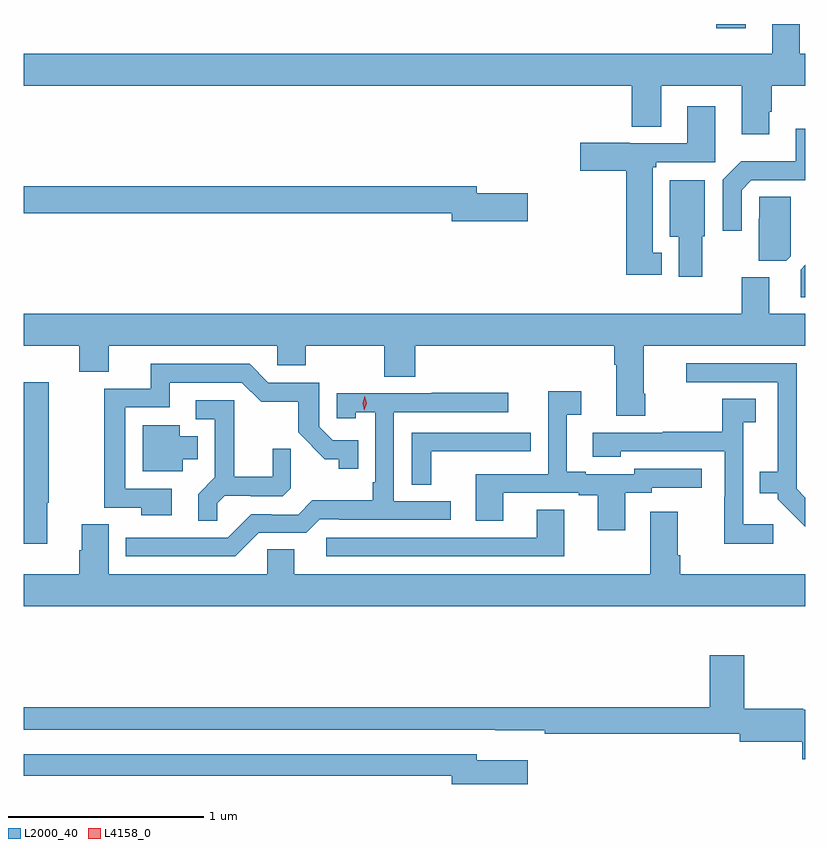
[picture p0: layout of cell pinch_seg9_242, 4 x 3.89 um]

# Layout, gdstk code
import gdstk
lib = gdstk.Library(unit=1e-6, precision=1e-09)
def R(c, l, rs):  # rectangles x0, y0, x1, y1
    for r in rs: c.add(gdstk.rectangle(r[:2], r[2:], *l))
def P(c, l, *ps):  # polygons
    for p in ps: c.add(gdstk.Polygon(p, *l))
L2000_40 = (2000, 40)
L4158_0 = (4158, 0)

pinch_seg9_242 = lib.new_cell('pinch_seg9_242')
R(pinch_seg9_242, L2000_40, [(401.795,1218.024,401.947,1218.047)])
P(pinch_seg9_242, L2000_40, [(402.067,1217.599),(402.08,1217.599),(402.08,1217.732),(402.252,1217.732),(402.252,1217.896),(402.223,1217.896),(402.223,1218.047),(402.083,1218.047),(402.083,1217.896),(398.252,1217.896),(398.252,1217.732),(401.363,1217.732),(401.363,1217.521),(401.515,1217.521),(401.515,1217.732),(401.927,1217.732),(401.927,1217.484),(402.067,1217.484)],
  [(401.518,1216.877),(401.47,1216.877),(401.47,1217.313),(401.488,1217.313),(401.488,1217.34),(401.791,1217.34),(401.791,1217.626),(401.648,1217.626),(401.648,1217.436),(401.352,1217.436),(401.352,1217.439),(401.1,1217.439),(401.1,1217.297),(401.336,1217.297),(401.336,1216.764),(401.518,1216.764)],
  [(401.925,1217.196),(401.976,1217.247),(402.252,1217.247),(402.252,1217.512),(402.203,1217.512),(402.203,1217.344),(401.923,1217.344),(401.829,1217.25),(401.829,1216.989),(401.925,1216.989)],
  [(401.725,1216.962),(401.737,1216.962),(401.737,1217.248),(401.558,1217.248),(401.558,1216.958),(401.603,1216.958),(401.603,1216.755),(401.725,1216.755)],
  [(400.831,1217.18),(400.57,1217.18),(400.57,1217.216),(398.252,1217.216),(398.252,1217.08),(400.442,1217.08),(400.442,1217.038),(400.831,1217.038)],
  [(402.177,1216.86),(402.177,1217.162),(402.015,1217.162),(402.015,1217.051),(402.014,1217.051),(402.014,1216.837),(402.153,1216.837)],
  [(402.252,1216.815),(402.227,1216.79),(402.227,1216.65),(402.252,1216.65)],
  [(398.252,1216.4),(398.537,1216.4),(398.537,1216.267),(398.689,1216.267),(398.689,1216.4),(399.549,1216.4),(399.549,1216.302),(399.696,1216.302),(399.696,1216.4),(400.096,1216.4),(400.096,1216.243),(400.256,1216.243),(400.256,1216.4),(401.273,1216.4),(401.273,1216.304),(401.285,1216.304),(401.285,1216.044),(401.433,1216.044),(401.433,1216.156),(401.425,1216.156),(401.425,1216.4),(402.252,1216.4),(402.252,1216.564),(402.067,1216.564),(402.067,1216.752),(401.927,1216.752),(401.927,1216.564),(398.252,1216.564)],
  [(402.252,1215.624),(402.207,1215.669),(402.207,1216.311),(401.643,1216.311),(401.643,1216.215),(402.11,1216.215),(402.11,1215.757),(402.019,1215.757),(402.019,1215.647),(402.111,1215.647),(402.111,1215.615),(402.252,1215.474)],
  [(399.01,1215.669),(398.772,1215.669),(398.772,1216.086),(399.001,1216.086),(399.001,1216.212),(399.369,1216.212),(399.468,1216.114),(399.657,1216.114),(399.657,1215.958),(399.794,1215.821),(399.864,1215.821),(399.864,1215.771),(399.965,1215.771),(399.965,1215.918),(399.834,1215.918),(399.765,1215.987),(399.765,1216.212),(399.504,1216.212),(399.408,1216.308),(398.903,1216.308),(398.903,1216.182),(398.664,1216.182),(398.664,1215.573),(398.854,1215.573),(398.854,1215.533),(399.01,1215.533)],
  [(398.374,1215.599),(398.382,1215.599),(398.382,1216.213),(398.252,1216.213),(398.252,1215.387),(398.374,1215.387)],
  [(401.329,1215.648),(401.466,1215.648),(401.466,1215.675),(401.722,1215.675),(401.722,1215.771),(401.376,1215.771),(401.376,1215.744),(401.128,1215.744),(401.128,1215.757),(401.032,1215.757),(401.032,1216.048),(401.104,1216.048),(401.104,1216.168),(400.935,1216.168),(400.935,1215.744),(400.565,1215.744),(400.565,1215.505),(400.705,1215.505),(400.705,1215.648),(401.093,1215.648),(401.093,1215.636),(401.189,1215.636),(401.189,1215.456),(401.329,1215.456)],
  [(399.456,1215.444),(399.699,1215.444),(399.768,1215.513),(399.868,1215.513),(399.868,1215.51),(400.438,1215.51),(400.438,1215.606),(400.146,1215.606),(400.146,1216.062),(400.732,1216.062),(400.732,1216.161),(400.339,1216.161),(400.339,1216.158),(399.855,1216.158),(399.855,1216.029),(399.951,1216.029),(399.951,1216.061),(400.05,1216.061),(400.05,1215.703),(400.038,1215.703),(400.038,1215.61),(399.73,1215.61),(399.657,1215.537),(399.518,1215.537),(399.518,1215.54),(399.417,1215.54),(399.297,1215.42),(398.774,1215.42),(398.774,1215.324),(399.336,1215.324)],
  [(402.088,1215.487),(401.934,1215.487),(401.934,1216.009),(401.998,1216.009),(401.998,1216.13),(401.826,1216.13),(401.826,1215.96),(401.521,1215.96),(401.521,1215.957),(401.163,1215.957),(401.163,1215.833),(401.307,1215.833),(401.307,1215.861),(401.838,1215.861),(401.838,1215.629),(401.836,1215.629),(401.836,1215.389),(402.088,1215.389)],
  [(399.243,1215.596),(399.28,1215.633),(399.414,1215.633),(399.414,1215.63),(399.579,1215.63),(399.62,1215.671),(399.62,1215.873),(399.526,1215.873),(399.526,1215.73),(399.329,1215.73),(399.329,1216.122),(399.132,1216.122),(399.132,1216.026),(399.231,1216.026),(399.231,1215.727),(399.145,1215.641),(399.145,1215.505),(399.243,1215.505)],
  [(399.067,1215.821),(399.142,1215.821),(399.142,1215.937),(399.052,1215.937),(399.052,1215.994),(398.861,1215.994),(398.861,1215.758),(399.067,1215.758)],
  [(400.338,1215.861),(400.733,1215.861),(400.733,1215.862),(400.846,1215.862),(400.846,1215.957),(400.239,1215.957),(400.239,1215.691),(400.338,1215.691)],
  [(401.017,1215.563),(400.877,1215.563),(400.877,1215.42),(399.801,1215.42),(399.801,1215.324),(401.017,1215.324)],
  [(402.252,1215.232),(401.612,1215.232),(401.612,1215.328),(401.599,1215.328),(401.599,1215.553),(401.459,1215.553),(401.459,1215.232),(399.637,1215.232),(399.637,1215.359),(399.498,1215.359),(399.498,1215.232),(398.689,1215.232),(398.689,1215.488),(398.549,1215.488),(398.549,1215.354),(398.537,1215.354),(398.537,1215.232),(398.252,1215.232),(398.252,1215.068),(402.252,1215.068)],
  [(402.252,1214.539),(402.24,1214.539),(402.24,1214.545),(401.94,1214.545),(401.94,1214.818),(401.762,1214.818),(401.762,1214.552),(398.252,1214.552),(398.252,1214.436),(400.666,1214.436),(400.666,1214.435),(400.918,1214.435),(400.918,1214.416),(401.915,1214.416),(401.915,1214.374),(402.236,1214.374),(402.236,1214.285),(402.252,1214.285)],
  [(400.831,1214.281),(400.57,1214.281),(400.57,1214.31),(398.252,1214.31),(398.252,1214.202),(400.442,1214.202),(400.442,1214.159),(400.831,1214.159)])
P(pinch_seg9_242, L4158_0, [(399.996,1216.071),(399.996,1216.071),(399.987,1216.107),(399.997,1216.143),(399.997,1216.143),(399.998,1216.143),(400.007,1216.106),(399.996,1216.071)])

lib.write_gds('pinch_seg9_242.gds')
